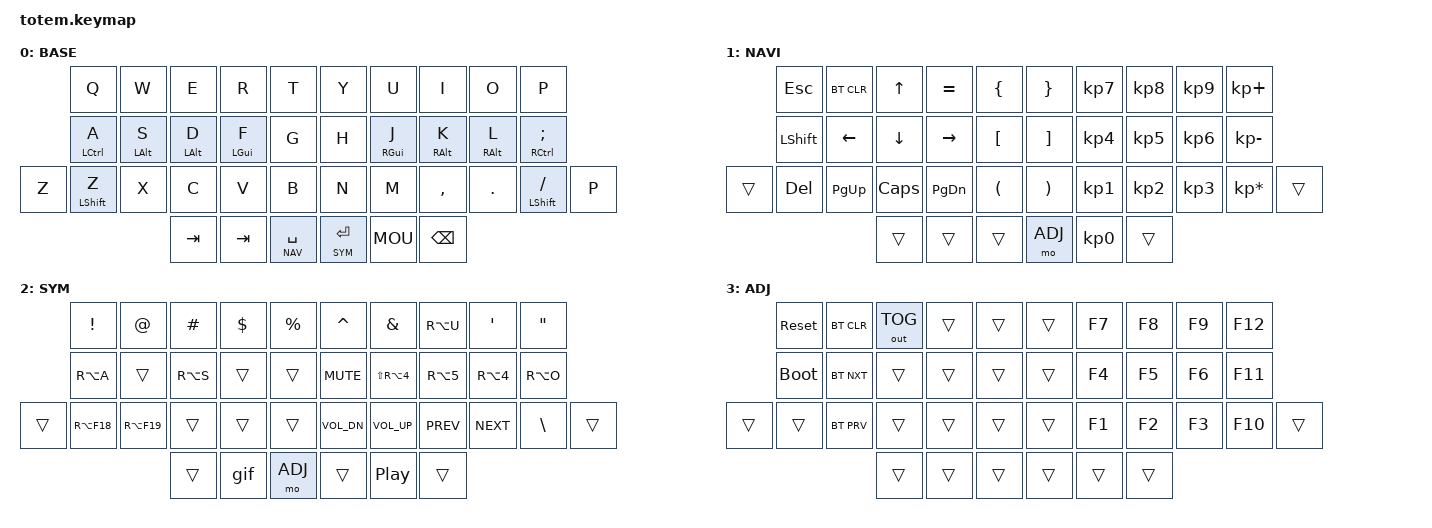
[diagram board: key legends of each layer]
//
//                                                        ▀▀▀▀▀     ▀▀▀▀▀          ▀▀█▀▀
//                                                        ▄▀▀▀▄  ▄  ▄▀▀▀▄  ▄  ▄▀▀▀▄  █  ▄▀▀▀▄
//                                                        █   █  █  █   █  █  █   █  █  █   █
//                                                         ▀▀▀   █   ▀▀▀   █   ▀▀▀   ▀   ▀▀▀
//                                                               █      ▄▄▄█▄▄▄    █   █  
//                                                               ▀      █  █  █     █▄█
//                                                             ▀▀▀▀▀    █  █  █      ▀
//                                                                      ▀  ▀  ▀
//
// ▄▄▄▄▄▄▄▄▄▄▄▄▄▄▄▄▄▄▄▄▄▄▄▄▄▄▄▄▄▄▄▄▄▄▄▄▄▄▄▄▄▄▄▄▄▄▄▄▄▄▄▄▄▄▄▄▄▄▄▄▄▄▄▄▄▄▄▄▄▄▄▄▄▄▄▄▄▄▄▄▄▄▄▄▄▄▄▄▄▄▄▄▄▄▄▄▄▄▄▄▄▄▄▄▄▄▄▄▄▄▄▄▄▄▄▄▄▄▄▄▄▄▄▄▄▄▄▄▄▄▄▄▄▄▄▄▄▄▄▄▄▄▄▄▄▄▄▄▄
       

#include <behaviors.dtsi>
#include <dt-bindings/zmk/keys.h>
#include <dt-bindings/zmk/bt.h>
#include <dt-bindings/zmk/outputs.h>

#define BASE 0
#define NAV  1
#define SYM  2
#define ADJ  3

&mt {
  quick-tap-ms = <100>;
  global-quick-tap;
  flavor = "tap-preferred";
  tapping-term-ms = <170>;
};

// test
/ {
    combos {
            compatible = "zmk,combos";
            combo_tab {
                timeout-ms = <50>;
                key-positions = <11 13>;
                bindings = <&kp TAB>;
            };
            combo_esc {
                timeout-ms = <50>;
                key-positions = <12 13>;
                bindings = <&kp ESC>;
            };
            combo_backspace {
                timeout-ms = <50>;
                key-positions = <16 17>;
                bindings = <&kp BSPC>;
            };
    };

    macros {

        gif: gif {
            label = "giphy";
            compatible = "zmk,behavior-macro";
            #binding-cells = <0>;
            bindings
                = <&macro_press &kp LSHFT>
                , <&macro_tap &kp N2>
                , <&macro_release &kp LSHFT>
                , <&macro_tap &kp G &kp I &kp F>
                ;
        };
    };

        keymap {
                compatible = "zmk,keymap";
// ▄▄▄▄▄▄▄▄▄▄▄▄▄▄▄▄▄▄▄▄▄▄▄▄▄▄▄▄▄▄▄▄▄▄▄▄▄▄▄▄▄▄▄▄▄▄▄▄▄▄▄▄▄▄▄▄▄▄▄▄▄▄▄▄▄▄▄▄▄▄▄▄▄▄▄▄▄▄▄▄▄▄▄▄▄▄▄▄▄▄▄▄▄▄▄▄▄▄▄▄▄▄▄▄▄▄▄▄▄▄▄▄▄▄▄▄▄▄▄▄▄▄▄▄▄▄▄▄▄▄▄▄▄▄▄▄▄▄▄▄▄▄▄▄▄▄▄▄▄

                base_layer {
// ┏━━━━━━━━━━━━━━━━━━━━━━━━━━━━━━━━━━━━━━━┓
label= "BASE"                              ;
// ┗━━━━━━━━━━━━━━━━━━━━━━━━━━━━━━━━━━━━━━━┛
//             ┏━━━━━━━━━━━┳━━━━━━━━━━━┳━━━━━━━━━━━┳━━━━━━━━━━━┳━━━━━━━━━━━┓   ┏━━━━━━━━━━━┳━━━━━━━━━━━┳━━━━━━━━━━━┳━━━━━━━━━━━┳━━━━━━━━━━━┓
//             ┃     Q     ┃     W     ┃     E     ┃     R     ┃     T     ┃   ┃     Y     ┃     U     ┃     I     ┃     o     ┃     p     ┃
//             ┣━━━━━━━━━━━╋━━━━━━━━━━━╋━━━━━━━━━━━╋━━━━━━━━━━━╋━━━━━━━━━━━┫   ┣━━━━━━━━━━━╋━━━━━━━━━━━╋━━━━━━━━━━━╋━━━━━━━━━━━╋━━━━━━━━━━━┫
//             ┃     A     ┃     s     ┃     D     ┃     f     ┃     g     ┃   ┃     h     ┃     j     ┃     k     ┃     l     ┃     m     ┃
// ┏━━━━━━━━━━━╋━━━━━━━━━━━╋━━━━━━━━━━━╋━━━━━━━━━━━╋━━━━━━━━━━━╋━━━━━━━━━━━┫   ┣━━━━━━━━━━━╋━━━━━━━━━━━╋━━━━━━━━━━━╋━━━━━━━━━━━╋━━━━━━━━━━━╋━━━━━━━━━━━┓
// ┃     q     ┃     z     ┃     x     ┃     c     ┃     V     ┃     B     ┃   ┃     n     ┃     m     ┃     ,     ┃     .     ┃     /    ┃       p   ┃
// ┗━━━━━━━━━━━┻━━━━━━━━━━━┻━━━━━━━━━━━╋━━━━━━━━━━━╋━━━━━━━━━━━╋━━━━━━━━━━━┫   ┣━━━━━━━━━━━╋━━━━━━━━━━━╋━━━━━━━━━━━╋━━━━━━━━━━━┻━━━━━━━━━━━┻━━━━━━━━━━━┛
//                                     ┃           ┃    TAB    ┃    SPC    ┃   ┃   ENTER   ┃   BSPC    ┃           ┃
//                                     ┗━━━━━━━━━━━┻━━━━━━━━━━━┻━━━━━━━━━━━┛   ┗━━━━━━━━━━━┻━━━━━━━━━━━┻━━━━━━━━━━━┛
 bindings = <
// ╷           ╷           ╷           ╷           ╷           ╷           ╷   ╷           ╷           ╷           ╷           ╷           ╷           ╷

                &kp Q         &kp W       &kp E       &kp R       &kp T           &kp Y       &kp U       &kp I       &kp O       &kp P
                &mt LCTRL A   &mt LALT S  &mt LALT D  &mt LGUI F  &kp G           &kp H       &mt RGUI J  &mt RALT K &mt RALT L  &mt RCTRL SEMI 
    &kp Z       &mt LSHIFT Z  &kp X       &kp C       &kp V       &kp B           &kp N       &kp M       &kp COMMA     &kp DOT     &mt LSHIFT FSLH  &kp P
                                          &kp TAB     &kp TAB     &lt NAV SPACE   &lt SYM RET &kp MOU     &kp BSPC
                        >;
                };

// ▄▄▄▄▄▄▄▄▄▄▄▄▄▄▄▄▄▄▄▄▄▄▄▄▄▄▄▄▄▄▄▄▄▄▄▄▄▄▄▄▄▄▄▄▄▄▄▄▄▄▄▄▄▄▄▄▄▄▄▄▄▄▄▄▄▄▄▄▄▄▄▄▄▄▄▄▄▄▄▄▄▄▄▄▄▄▄▄▄▄▄▄▄▄▄▄▄▄▄▄▄▄▄▄▄▄▄▄▄▄▄▄▄▄▄▄▄▄▄▄▄▄▄▄▄▄▄▄▄▄▄▄▄▄▄▄▄▄▄▄▄▄▄▄▄▄▄▄▄


                nav_layer {
// ┏━━━━━━━━━━━━━━━━━━━━━━━━━━━━━━━━━━━━━━━┓
label= "NAVI"                              ;
// ┗━━━━━━━━━━━━━━━━━━━━━━━━━━━━━━━━━━━━━━━┛
//             ┏━━━━━━━━━━━┳━━━━━━━━━━━┳━━━━━━━━━━━┳━━━━━━━━━━━┳━━━━━━━━━━━┓   ┏━━━━━━━━━━━┳━━━━━━━━━━━┳━━━━━━━━━━━┳━━━━━━━━━━━┳━━━━━━━━━━━┓
//             ┃           ┃           ┃     UP    ┃           ┃     {     ┃   ┃     }     ┃     7     ┃     8     ┃     9     ┃     +     ┃
//             ┣━━━━━━━━━━━╋━━━━━━━━━━━╋━━━━━━━━━━━╋━━━━━━━━━━━╋━━━━━━━━━━━┫   ┣━━━━━━━━━━━╋━━━━━━━━━━━╋━━━━━━━━━━━╋━━━━━━━━━━━╋━━━━━━━━━━━┫
//             ┃   SHIFT   ┃   LEFT    ┃    DOWN   ┃   RIGHT   ┃     [     ┃   ┃     ]     ┃     4     ┃     5     ┃     6     ┃     -     ┃
// ┏━━━━━━━━━━━╋━━━━━━━━━━━╋━━━━━━━━━━━╋━━━━━━━━━━━╋━━━━━━━━━━━╋━━━━━━━━━━━┫   ┣━━━━━━━━━━━╋━━━━━━━━━━━╋━━━━━━━━━━━╋━━━━━━━━━━━╋━━━━━━━━━━━╋━━━━━━━━━━━┓
// ┃           ┃           ┃   P UP    ┃  C LOCK   ┃  P DOWN   ┃     (     ┃   ┃     )     ┃     1     ┃     2     ┃     3     ┃     *     ┃           ┃
// ┗━━━━━━━━━━━┻━━━━━━━━━━━┻━━━━━━━━━━━╋━━━━━━━━━━━╋━━━━━━━━━━━╋━━━━━━━━━━━┫   ┣━━━━━━━━━━━╋━━━━━━━━━━━╋━━━━━━━━━━━╋━━━━━━━━━━━┻━━━━━━━━━━━┻━━━━━━━━━━━┛
//                                     ┃           ┃    TAB    ┃    SPC    ┃   ┃    DEL    ┃     0     ┃           ┃
//                                     ┗━━━━━━━━━━━┻━━━━━━━━━━━┻━━━━━━━━━━━┛   ┗━━━━━━━━━━━┻━━━━━━━━━━━┻━━━━━━━━━━━┛
 bindings = <
// ╷           ╷           ╷           ╷           ╷           ╷           ╷   ╷           ╷           ╷           ╷           ╷           ╷           ╷

                &kp ESC     &bt BT_CLR  &kp UP      &kp EQUAL   &kp LBRC        &kp RBRC    &kp KP_N7   &kp KP_N8   &kp KP_N9   &kp KP_PLUS
                &kp LSHFT   &kp LEFT    &kp DOWN    &kp RIGHT   &kp LBKT        &kp RBKT    &kp KP_N4   &kp KP_N5   &kp KP_N6   &kp KP_MINUS
    &trans      &kp DEL     &kp PG_UP   &kp CAPS    &kp PG_DN   &kp LPAR        &kp RPAR    &kp KP_N1   &kp KP_N2   &kp KP_N3   &kp KP_MULTIPLY &trans      
                                        &trans      &trans      &trans          &mo ADJ     &kp KP_N0   &trans      
                        >;
                };

// ▄▄▄▄▄▄▄▄▄▄▄▄▄▄▄▄▄▄▄▄▄▄▄▄▄▄▄▄▄▄▄▄▄▄▄▄▄▄▄▄▄▄▄▄▄▄▄▄▄▄▄▄▄▄▄▄▄▄▄▄▄▄▄▄▄▄▄▄▄▄▄▄▄▄▄▄▄▄▄▄▄▄▄▄▄▄▄▄▄▄▄▄▄▄▄▄▄▄▄▄▄▄▄▄▄▄▄▄▄▄▄▄▄▄▄▄▄▄▄▄▄▄▄▄▄▄▄▄▄▄▄▄▄▄▄▄▄▄▄▄▄▄▄▄▄▄▄▄▄


                sim_layer {
// ┏━━━━━━━━━━━━━━━━━━━━━━━━━━━━━━━━━━━━━━━┓
label= "SYM"                               ;
// ┗━━━━━━━━━━━━━━━━━━━━━━━━━━━━━━━━━━━━━━━┛
//             ┏━━━━━━━━━━━┳━━━━━━━━━━━┳━━━━━━━━━━━┳━━━━━━━━━━━┳━━━━━━━━━━━┓   ┏━━━━━━━━━━━┳━━━━━━━━━━━┳━━━━━━━━━━━┳━━━━━━━━━━━┳━━━━━━━━━━━┓
//             ┃     !     ┃     @     ┃     #     ┃     $     ┃     %     ┃   ┃     ˆ     ┃     &     ┃     Ü     ┃     '     ┃     "     ┃
//             ┣━━━━━━━━━━━╋━━━━━━━━━━━╋━━━━━━━━━━━╋━━━━━━━━━━━╋━━━━━━━━━━━┫   ┣━━━━━━━━━━━╋━━━━━━━━━━━╋━━━━━━━━━━━╋━━━━━━━━━━━╋━━━━━━━━━━━┫
//             ┃     Ä     ┃           ┃    SZ     ┃           ┃           ┃   ┃   MUTE    ┃   YEN     ┃   EURO    ┃  POUND    ┃     Ö     ┃
// ┏━━━━━━━━━━━╋━━━━━━━━━━━╋━━━━━━━━━━━╋━━━━━━━━━━━╋━━━━━━━━━━━╋━━━━━━━━━━━┫   ┣━━━━━━━━━━━╋━━━━━━━━━━━╋━━━━━━━━━━━╋━━━━━━━━━━━╋━━━━━━━━━━━╋━━━━━━━━━━━┓
// ┃           ┃  EMAIL1   ┃  EMAIL2   ┃           ┃           ┃           ┃   ┃   VOL-    ┃   VOL+    ┃   LAST    ┃   NEXT    ┃     \     ┃           ┃
// ┗━━━━━━━━━━━┻━━━━━━━━━━━┻━━━━━━━━━━━╋━━━━━━━━━━━╋━━━━━━━━━━━╋━━━━━━━━━━━┫   ┣━━━━━━━━━━━╋━━━━━━━━━━━╋━━━━━━━━━━━╋━━━━━━━━━━━┻━━━━━━━━━━━┻━━━━━━━━━━━┛
//                                     ┃           ┃    GIF    ┃    ADJ    ┃   ┃           ┃           ┃           ┃
//                                     ┗━━━━━━━━━━━┻━━━━━━━━━━━┻━━━━━━━━━━━┛   ┗━━━━━━━━━━━┻━━━━━━━━━━━┻━━━━━━━━━━━┛
 bindings = <
// ╷           ╷           ╷           ╷           ╷           ╷           ╷   ╷           ╷           ╷           ╷           ╷           ╷           ╷

                &kp EXCL    &kp AT      &kp HASH    &kp DLLR    &kp PRCNT       &kp CARET   &kp AMPS    &kp RA(U)   &kp SQT     &kp DQT       
                &kp RA(A)   &trans      &kp RA(S)   &trans      &trans          &kp C_MUTE  &kp LS(RA(N4)) &kp RA(N5) &kp RA(N4)   &kp RA(O) 
    &trans      &kp RA(F18) &kp RA(F19) &trans      &trans      &trans          &kp C_VOL_DN &kp C_VOL_UP &kp C_PREV &kp C_NEXT  &kp BSLH   &trans         
                                        &trans      &gif        &mo ADJ         &trans      &kp C_PP    &trans      
                        >;
                };

// ▄▄▄▄▄▄▄▄▄▄▄▄▄▄▄▄▄▄▄▄▄▄▄▄▄▄▄▄▄▄▄▄▄▄▄▄▄▄▄▄▄▄▄▄▄▄▄▄▄▄▄▄▄▄▄▄▄▄▄▄▄▄▄▄▄▄▄▄▄▄▄▄▄▄▄▄▄▄▄▄▄▄▄▄▄▄▄▄▄▄▄▄▄▄▄▄▄▄▄▄▄▄▄▄▄▄▄▄▄▄▄▄▄▄▄▄▄▄▄▄▄▄▄▄▄▄▄▄▄▄▄▄▄▄▄▄▄▄▄▄▄▄▄▄▄▄▄▄▄


                adjust_layer {
// ┏━━━━━━━━━━━━━━━━━━━━━━━━━━━━━━━━━━━━━━━┓
label= "ADJ"                               ;
// ┗━━━━━━━━━━━━━━━━━━━━━━━━━━━━━━━━━━━━━━━┛
//             ┏━━━━━━━━━━━┳━━━━━━━━━━━┳━━━━━━━━━━━┳━━━━━━━━━━━┳━━━━━━━━━━━┓   ┏━━━━━━━━━━━┳━━━━━━━━━━━┳━━━━━━━━━━━┳━━━━━━━━━━━┳━━━━━━━━━━━┓
//             ┃   RESET   ┃ BT CLEAR  ┃  OUT TOG  ┃           ┃           ┃   ┃           ┃    F7     ┃    F8     ┃    F9     ┃    F12    ┃
//             ┣━━━━━━━━━━━╋━━━━━━━━━━━╋━━━━━━━━━━━╋━━━━━━━━━━━╋━━━━━━━━━━━┫   ┣━━━━━━━━━━━╋━━━━━━━━━━━╋━━━━━━━━━━━╋━━━━━━━━━━━╋━━━━━━━━━━━┫
//             ┃ BOOTLOAD  ┃ BT NEXT   ┃           ┃           ┃           ┃   ┃           ┃    F4     ┃    F5     ┃    F6     ┃    F11    ┃
// ┏━━━━━━━━━━━╋━━━━━━━━━━━╋━━━━━━━━━━━╋━━━━━━━━━━━╋━━━━━━━━━━━╋━━━━━━━━━━━┫   ┣━━━━━━━━━━━╋━━━━━━━━━━━╋━━━━━━━━━━━╋━━━━━━━━━━━╋━━━━━━━━━━━╋━━━━━━━━━━━┓
// ┃           ┃           ┃ BT PREV   ┃           ┃           ┃           ┃   ┃           ┃    F1     ┃    F2     ┃    F3     ┃    F10    ┃           ┃
// ┗━━━━━━━━━━━┻━━━━━━━━━━━┻━━━━━━━━━━━╋━━━━━━━━━━━╋━━━━━━━━━━━╋━━━━━━━━━━━┫   ┣━━━━━━━━━━━╋━━━━━━━━━━━╋━━━━━━━━━━━╋━━━━━━━━━━━┻━━━━━━━━━━━┻━━━━━━━━━━━┛
//                                     ┃           ┃           ┃           ┃   ┃           ┃           ┃           ┃
//                                     ┗━━━━━━━━━━━┻━━━━━━━━━━━┻━━━━━━━━━━━┛   ┗━━━━━━━━━━━┻━━━━━━━━━━━┻━━━━━━━━━━━┛
 bindings = <
// ╷           ╷           ╷           ╷           ╷           ╷           ╷   ╷           ╷           ╷           ╷           ╷           ╷           ╷

                &sys_reset  &bt BT_CLR &out OUT_TOG &trans      &trans          &trans      &kp F7      &kp F8      &kp F9      &kp F12
                &bootloader &bt BT_NXT  &trans      &trans      &trans          &trans      &kp F4      &kp F5      &kp F6      &kp F11  
    &trans      &trans      &bt BT_PRV  &trans      &trans      &trans          &trans      &kp F1      &kp F2      &kp F3      &kp F10     &trans         
                                        &trans      &trans      &trans          &trans      &trans      &trans      
                        >;
                };
        };
};
